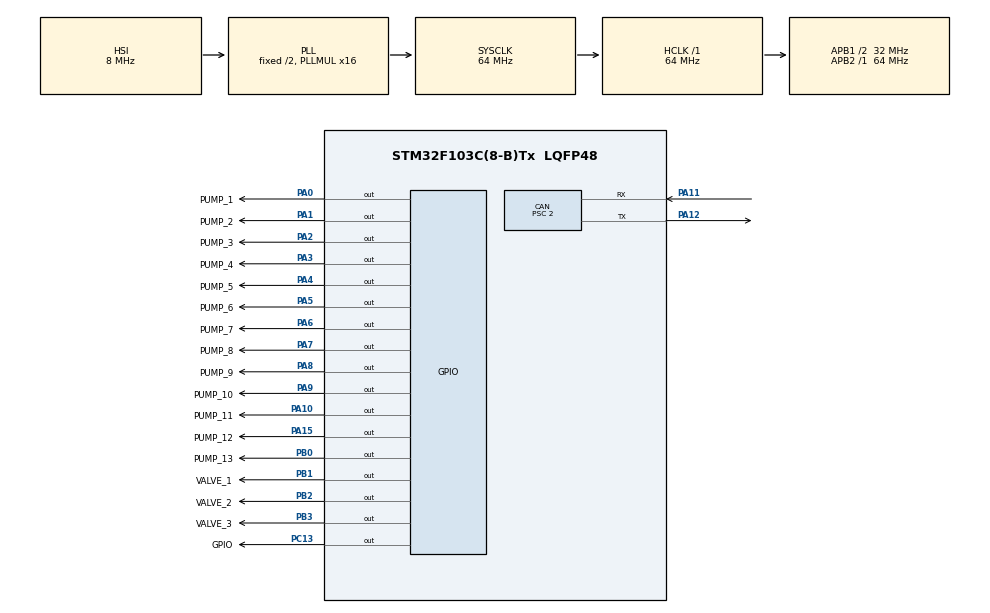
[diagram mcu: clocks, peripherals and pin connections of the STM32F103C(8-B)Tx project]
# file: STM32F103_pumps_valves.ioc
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CAN.BS1=CAN_BS1_11TQ
CAN.BS2=CAN_BS2_4TQ
CAN.CalculateBaudRate=1000000
CAN.CalculateTimeBit=1000
CAN.CalculateTimeQuantum=62.5
CAN.Prescaler=2
FREERTOS.Tasks01=task_can_handle,40,128,start_task_can_handler,Default,NULL,Dynamic,NULL,NULL;task_dispatcher,24,128,start_task_dispatcher,Default,NULL,Dynamic,NULL,NULL;task_pump_contr,24,128,start_task_pump_controller,Default,NULL,Dynamic,NULL,NULL;task_watchdog,32,128,start_task_watchdog,Default,NULL,Dynamic,NULL,NULL
FREERTOS.configTOTAL_HEAP_SIZE=8192
FREERTOS.configUSE_NEWLIB_REENTRANT=1
IWDG.Prescaler=IWDG_PRESCALER_256
IWDG.Reload=624
Mcu.Family=STM32F1
Mcu.Name=STM32F103C(8-B)Tx
Mcu.Package=LQFP48
NVIC.CAN1_RX1_IRQn=true\:5\:0\:false\:false\:true\:true\:true\:true\:true
NVIC.PriorityGroup=NVIC_PRIORITYGROUP_4
NVIC.TIM4_IRQn=true\:15\:0\:false\:false\:true\:false\:false\:true\:true
NVIC.TimeBase=TIM4_IRQn
NVIC.TimeBaseIP=TIM4
NVIC.USB_LP_CAN1_RX0_IRQn=true\:5\:0\:false\:false\:true\:true\:true\:true\:true
PA0-WKUP.GPIO_Label=PUMP_1
PA0-WKUP.Signal=GPIO_Output
PA1.GPIO_Label=PUMP_2
PA1.Signal=GPIO_Output
PA10.GPIO_Label=PUMP_11
PA10.Signal=GPIO_Output
PA11.Mode=CAN_Activate
PA11.Signal=CAN_RX
PA12.Mode=CAN_Activate
PA12.Signal=CAN_TX
PA13.Mode=Serial_Wire
PA13.Signal=SYS_JTMS-SWDIO
PA14.Mode=Serial_Wire
PA14.Signal=SYS_JTCK-SWCLK
PA15.GPIO_Label=PUMP_12
PA15.Signal=GPIO_Output
PA2.GPIO_Label=PUMP_3
PA2.Signal=GPIO_Output
PA3.GPIO_Label=PUMP_4
PA3.Signal=GPIO_Output
PA4.GPIO_Label=PUMP_5
PA4.Signal=GPIO_Output
PA5.GPIO_Label=PUMP_6
PA5.Signal=GPIO_Output
PA6.GPIO_Label=PUMP_7
PA6.Signal=GPIO_Output
PA7.GPIO_Label=PUMP_8
PA7.Signal=GPIO_Output
PA8.GPIO_Label=PUMP_9
PA8.Signal=GPIO_Output
PA9.GPIO_Label=PUMP_10
PA9.Signal=GPIO_Output
PB0.GPIO_Label=PUMP_13
PB0.Signal=GPIO_Output
PB1.GPIO_Label=VALVE_1
PB1.Signal=GPIO_Output
PB2.GPIO_Label=VALVE_2
PB2.Signal=GPIO_Output
PB3.GPIO_Label=VALVE_3
PB3.Signal=GPIO_Output
PC13-TAMPER-RTC.GPIO_Label=GPIO
PC13-TAMPER-RTC.Signal=GPIO_Output
ProjectManager.HeapSize=0x200
ProjectManager.StackSize=0x400
ProjectManager.TargetToolchain=STM32CubeIDE
RCC.AHBFreq_Value=64000000
RCC.APB1CLKDivider=RCC_HCLK_DIV2
RCC.APB1Freq_Value=32000000
RCC.APB1TimFreq_Value=64000000
RCC.APB2Freq_Value=64000000
RCC.APB2TimFreq_Value=64000000
RCC.HCLKFreq_Value=64000000
RCC.PLLMUL=RCC_PLL_MUL16
RCC.SYSCLKFreq_VALUE=64000000
RCC.SYSCLKSource=RCC_SYSCLKSOURCE_PLLCLK
RCC.USBFreq_Value=64000000
VP_FREERTOS_VS_CMSIS_V2.Mode=CMSIS_V2
VP_IWDG_VS_IWDG.Mode=IWDG_Activate
VP_SYS_VS_tim4.Mode=TIM4
board=custom

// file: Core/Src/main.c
/* USER CODE BEGIN Header */
/**
  ******************************************************************************
  * @file           : main.c
  * @brief          : Main program body
  ******************************************************************************
  * @attention
  *
  * Copyright (c) 2025 STMicroelectronics.
  * All rights reserved.
  *
  * This software is licensed under terms that can be found in the LICENSE file
  * in the root directory of this software component.
  * If no LICENSE file comes with this software, it is provided AS-IS.
  *
  ******************************************************************************
  */
/* USER CODE END Header */
#include "main.h"
#include "cmsis_os.h"

/* USER CODE BEGIN Includes */

#include "app_flash.h"
#include "app_config.h"
#include "task_can_handler.h"
#include "task_pump_controller.h"
#include "tasks/task_dispatcher.h"
#include "tasks/task_watchdog.h"
#include "pumps_valves_gpio.h"

/* USER CODE END Includes */

CAN_HandleTypeDef hcan;

IWDG_HandleTypeDef hiwdg;

/* Definitions for task_can_handle */
osThreadId_t task_can_handleHandle;
const osThreadAttr_t task_can_handle_attributes = {
  .name = "task_can_handle",
  .stack_size = 128 * 4,
  .priority = (osPriority_t) osPriorityHigh,
};
/* Definitions for task_dispatcher */
osThreadId_t task_dispatcherHandle;
const osThreadAttr_t task_dispatcher_attributes = {
  .name = "task_dispatcher",
  .stack_size = 128 * 4,
  .priority = (osPriority_t) osPriorityNormal,
};
/* Definitions for task_pump_contr */
osThreadId_t task_pump_contrHandle;
const osThreadAttr_t task_pump_contr_attributes = {
  .name = "task_pump_contr",
  .stack_size = 128 * 4,
  .priority = (osPriority_t) osPriorityNormal,
};
/* Definitions for task_watchdog */
osThreadId_t task_watchdogHandle;
const osThreadAttr_t task_watchdog_attributes = {
  .name = "task_watchdog",
  .stack_size = 128 * 4,
  .priority = (osPriority_t) osPriorityAboveNormal,
};
/* USER CODE BEGIN PV */

osMessageQueueId_t can_rx_queueHandle;
osMessageQueueId_t can_tx_queueHandle;
osMessageQueueId_t dispatcher_queueHandle;
osMessageQueueId_t fluidics_queueHandle;

/* USER CODE END PV */

void SystemClock_Config(void);
static void MX_GPIO_Init(void);
static void MX_CAN_Init(void);
static void MX_IWDG_Init(void);
void start_task_can_handler(void *argument);
void start_task_dispatcher(void *argument);
void start_task_pump_controller(void *argument);
void start_task_watchdog(void *argument);

int main(void)
{

  /* MCU Configuration--------------------------------------------------------*/

  /* Reset of all peripherals, Initializes the Flash interface and the Systick. */
  HAL_Init();

  /* Configure the system clock */
  SystemClock_Config();

  /* Initialize all configured peripherals */
  MX_GPIO_Init();
  MX_CAN_Init();
  MX_IWDG_Init();
  /* USER CODE BEGIN 2 */
  PumpsValves_AllOff();

  // Создание очередей FreeRTOS с использованием именованных констант
  can_rx_queueHandle = osMessageQueueNew(CAN_RX_QUEUE_LEN, sizeof(CanRxFrame_t), NULL);
  can_tx_queueHandle = osMessageQueueNew(CAN_TX_QUEUE_LEN, sizeof(CanTxFrame_t), NULL);
  dispatcher_queueHandle = osMessageQueueNew(DISPATCHER_QUEUE_LEN, sizeof(ParsedCanCommand_t), NULL);
  fluidics_queueHandle = osMessageQueueNew(FLUIDICS_QUEUE_LEN, sizeof(PumpValveCommand_t), NULL);

  // Проверка успешности создания очередей
  if (can_rx_queueHandle == NULL || dispatcher_queueHandle == NULL ||
      can_tx_queueHandle == NULL || fluidics_queueHandle == NULL) {
    Error_Handler();
  }
  /* USER CODE END 2 */

  /* Init scheduler */
  osKernelInitialize();

  /* USER CODE BEGIN RTOS_MUTEX */
  /* add mutexes, ... */
  AppConfig_Init();
  /* USER CODE END RTOS_MUTEX */

  /* Create the thread(s) */
  /* creation of task_can_handle */
  task_can_handleHandle = osThreadNew(start_task_can_handler, NULL, &task_can_handle_attributes);

  /* creation of task_dispatcher */
  task_dispatcherHandle = osThreadNew(start_task_dispatcher, NULL, &task_dispatcher_attributes);

  /* creation of task_pump_contr */
  task_pump_contrHandle = osThreadNew(start_task_pump_controller, NULL, &task_pump_contr_attributes);

  /* creation of task_watchdog */
  task_watchdogHandle = osThreadNew(start_task_watchdog, NULL, &task_watchdog_attributes);

  /* USER CODE BEGIN RTOS_THREADS */
  if (task_can_handleHandle == NULL ||
      task_dispatcherHandle == NULL ||
      task_pump_contrHandle == NULL ||
      task_watchdogHandle == NULL) {
    Error_Handler();
  }
  /* USER CODE END RTOS_THREADS */

  /* Start scheduler */
  osKernelStart();

  /* We should never get here as control is now taken by the scheduler */

  /* Infinite loop */
  while (1)
  {

  }
}

void SystemClock_Config(void)
{
  RCC_OscInitTypeDef RCC_OscInitStruct = {0};
  RCC_ClkInitTypeDef RCC_ClkInitStruct = {0};

  /** Initializes the RCC Oscillators according to the specified parameters
  * in the RCC_OscInitTypeDef structure.
  */
  RCC_OscInitStruct.OscillatorType = RCC_OSCILLATORTYPE_HSI|RCC_OSCILLATORTYPE_LSI;
  RCC_OscInitStruct.HSIState = RCC_HSI_ON;
  RCC_OscInitStruct.HSICalibrationValue = RCC_HSICALIBRATION_DEFAULT;
  RCC_OscInitStruct.LSIState = RCC_LSI_ON;
  RCC_OscInitStruct.PLL.PLLState = RCC_PLL_ON;
  RCC_OscInitStruct.PLL.PLLSource = RCC_PLLSOURCE_HSI_DIV2;
  RCC_OscInitStruct.PLL.PLLMUL = RCC_PLL_MUL16;
  if (HAL_RCC_OscConfig(&RCC_OscInitStruct) != HAL_OK)
  {
    Error_Handler();
  }

  /** Initializes the CPU, AHB and APB buses clocks
  */
  RCC_ClkInitStruct.ClockType = RCC_CLOCKTYPE_HCLK|RCC_CLOCKTYPE_SYSCLK
                              |RCC_CLOCKTYPE_PCLK1|RCC_CLOCKTYPE_PCLK2;
  RCC_ClkInitStruct.SYSCLKSource = RCC_SYSCLKSOURCE_PLLCLK;
  RCC_ClkInitStruct.AHBCLKDivider = RCC_SYSCLK_DIV1;
  RCC_ClkInitStruct.APB1CLKDivider = RCC_HCLK_DIV2;
  RCC_ClkInitStruct.APB2CLKDivider = RCC_HCLK_DIV1;

  if (HAL_RCC_ClockConfig(&RCC_ClkInitStruct, FLASH_LATENCY_2) != HAL_OK)
  {
    Error_Handler();
  }
}

static void MX_CAN_Init(void)
{

  hcan.Instance = CAN1;
  hcan.Init.Prescaler = 2;
  hcan.Init.Mode = CAN_MODE_NORMAL;
  hcan.Init.SyncJumpWidth = CAN_SJW_1TQ;
  hcan.Init.TimeSeg1 = CAN_BS1_11TQ;
  hcan.Init.TimeSeg2 = CAN_BS2_4TQ;
  hcan.Init.TimeTriggeredMode = DISABLE;
  hcan.Init.AutoBusOff = DISABLE;
  hcan.Init.AutoWakeUp = DISABLE;
  hcan.Init.AutoRetransmission = DISABLE;
  hcan.Init.ReceiveFifoLocked = DISABLE;
  hcan.Init.TransmitFifoPriority = ENABLE;
  if (HAL_CAN_Init(&hcan) != HAL_OK)
  {
    Error_Handler();
  }

}

static void MX_IWDG_Init(void)
{

  hiwdg.Instance = IWDG;
  hiwdg.Init.Prescaler = IWDG_PRESCALER_256;
  hiwdg.Init.Reload = 624;
  if (HAL_IWDG_Init(&hiwdg) != HAL_OK)
  {
    Error_Handler();
  }

}

static void MX_GPIO_Init(void)
{
  GPIO_InitTypeDef GPIO_InitStruct = {0};

  /* GPIO Ports Clock Enable */
  __HAL_RCC_GPIOC_CLK_ENABLE();
  __HAL_RCC_GPIOA_CLK_ENABLE();
  __HAL_RCC_GPIOB_CLK_ENABLE();

  /*Configure GPIO pin Output Level */
  HAL_GPIO_WritePin(GPIO_GPIO_Port, GPIO_Pin, GPIO_PIN_RESET);

  /*Configure GPIO pin Output Level */
  HAL_GPIO_WritePin(GPIOA, PUMP_1_Pin|PUMP_2_Pin|PUMP_3_Pin|PUMP_4_Pin
                          |PUMP_5_Pin|PUMP_6_Pin|PUMP_7_Pin|PUMP_8_Pin
                          |PUMP_9_Pin|PUMP_10_Pin|PUMP_11_Pin|PUMP_12_Pin, GPIO_PIN_RESET);

  /*Configure GPIO pin Output Level */
  HAL_GPIO_WritePin(GPIOB, PUMP_13_Pin|VALVE_1_Pin|VALVE_2_Pin|VALVE_3_Pin, GPIO_PIN_RESET);

  /*Configure GPIO pin : GPIO_Pin */
  GPIO_InitStruct.Pin = GPIO_Pin;
  GPIO_InitStruct.Mode = GPIO_MODE_OUTPUT_PP;
  GPIO_InitStruct.Pull = GPIO_NOPULL;
  GPIO_InitStruct.Speed = GPIO_SPEED_FREQ_LOW;
  HAL_GPIO_Init(GPIO_GPIO_Port, &GPIO_InitStruct);

  /*Configure GPIO pins : PUMP_1_Pin PUMP_2_Pin PUMP_3_Pin PUMP_4_Pin
                           PUMP_5_Pin PUMP_6_Pin PUMP_7_Pin PUMP_8_Pin
                           PUMP_9_Pin PUMP_10_Pin PUMP_11_Pin PUMP_12_Pin */
  GPIO_InitStruct.Pin = PUMP_1_Pin|PUMP_2_Pin|PUMP_3_Pin|PUMP_4_Pin
                          |PUMP_5_Pin|PUMP_6_Pin|PUMP_7_Pin|PUMP_8_Pin
                          |PUMP_9_Pin|PUMP_10_Pin|PUMP_11_Pin|PUMP_12_Pin;
  GPIO_InitStruct.Mode = GPIO_MODE_OUTPUT_PP;
  GPIO_InitStruct.Pull = GPIO_NOPULL;
  GPIO_InitStruct.Speed = GPIO_SPEED_FREQ_LOW;
  HAL_GPIO_Init(GPIOA, &GPIO_InitStruct);

  /*Configure GPIO pins : PUMP_13_Pin VALVE_1_Pin VALVE_2_Pin VALVE_3_Pin */
  GPIO_InitStruct.Pin = PUMP_13_Pin|VALVE_1_Pin|VALVE_2_Pin|VALVE_3_Pin;
  GPIO_InitStruct.Mode = GPIO_MODE_OUTPUT_PP;
  GPIO_InitStruct.Pull = GPIO_NOPULL;
  GPIO_InitStruct.Speed = GPIO_SPEED_FREQ_LOW;
  HAL_GPIO_Init(GPIOB, &GPIO_InitStruct);

}

void start_task_can_handler(void *argument)
{
  /* USER CODE BEGIN 5 */
  app_start_task_can_handler(argument);
  /* Infinite loop */
  for(;;)
  {
    osDelay(1);
  }
  /* USER CODE END 5 */
}

void start_task_dispatcher(void *argument)
{
  /* USER CODE BEGIN start_task_dispatcher */
  app_start_task_dispatcher(argument);
  /* Infinite loop */
  for(;;)
  {
    osDelay(1);
  }
  /* USER CODE END start_task_dispatcher */
}

void start_task_pump_controller(void *argument)
{
  /* USER CODE BEGIN start_task_pump_controller */
  app_start_task_pump_controller(argument);

  /* Infinite loop */
  for(;;)
  {
    osDelay(1);
  }
  /* USER CODE END start_task_pump_controller */
}

void start_task_watchdog(void *argument)
{
  /* USER CODE BEGIN start_task_watchdog */
  app_start_task_watchdog(argument);

  /* Infinite loop */
  for(;;)
  {
    osDelay(1);
  }
  /* USER CODE END start_task_watchdog */
}

void HAL_TIM_PeriodElapsedCallback(TIM_HandleTypeDef *htim)
{
  if (htim->Instance == TIM4)
  {
    HAL_IncTick();
  }
}

void Error_Handler(void)
{
  /* USER CODE BEGIN Error_Handler_Debug */
  /* User can add his own implementation to report the HAL error return state */
	PumpsValves_AllOff();
	__disable_irq();
	while (1)
		{
		}

  /* USER CODE END Error_Handler_Debug */
}
